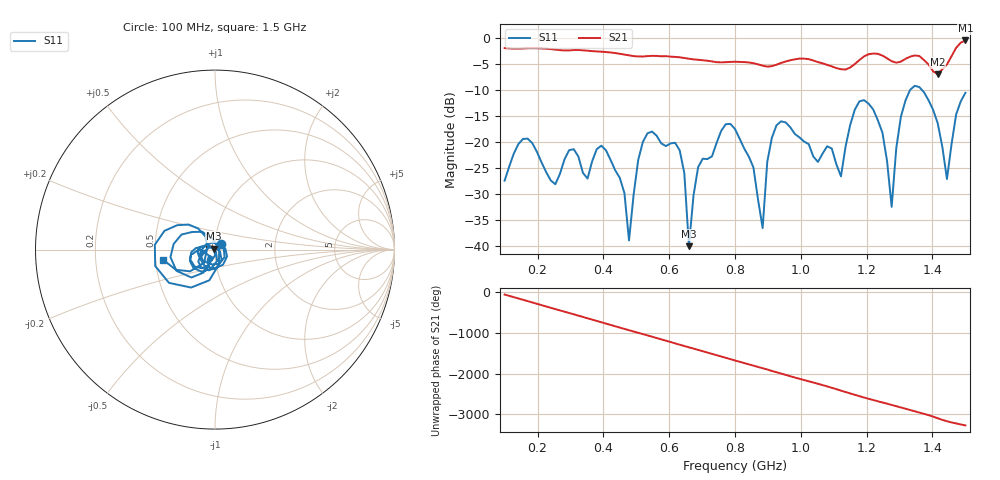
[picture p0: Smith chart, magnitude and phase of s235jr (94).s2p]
! NanoVNA-App
! Date: 2025-09-25 15:04:53
! Start: 100MHz Stop: 1,5GHz Points: 101
! S-Parameter data: F S11 S21 S12 S22
# Hz S RI R 50
!  Frequency  S11_Real  S11_Imag  S21_Real  S21_Imag  S12_Real  S12_Imag  S22_Real  S22_Imag
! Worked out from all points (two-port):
!   101 points, 100 MHz to 1.5 GHz, reference 50 ohm
!   highest |S21| = -0.50 dB at 1.5 GHz (marker M1); lowest = -7.0 dB at 1.416 GHz (marker M2)
!   |S21| within 3 dB of the highest: start of sweep to 490.8 MHz; 1.194 GHz to 1.25 GHz (56.3 MHz wide, 4.61 % of centre) (the widest 2 of 5)
!   lowest |S11| = -40.1 dB at 660 MHz (marker M3), VSWR 1.02, Z = 49.2 + j0.591 ohm
!   |S11| at or under -10 dB: start of sweep to 1.332 GHz; 1.368 GHz to end of sweep
!   S12 and S22 are empty: the file has one direction only
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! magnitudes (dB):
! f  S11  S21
! 100 MHz  -27.5  -2.0
! 156 MHz  -19.5  -2.1
! 338 MHz  -26.0  -2.4
! 408 MHz  -21.6  -2.7
! 478 MHz  -39.0  -3.4
! 520 MHz  -20.0  -3.6
! 576 MHz  -20.3  -3.5
! 632 MHz  -21.7  -3.7
! 660 MHz  -40.1  -4.0
! 688 MHz  -24.9  -4.2
! 800 MHz  -17.5  -4.6
! 884 MHz  -36.6  -5.4
! 926 MHz  -16.8  -5.2
! 1.038 GHz  -22.8  -4.4
! 1.122 GHz  -26.7  -6.0
! 1.192 GHz  -12.0  -3.6
! 1.248 GHz  -18.3  -3.4
! 1.276 GHz  -32.5  -4.5
! 1.332 GHz  -10.0  -3.6
! 1.416 GHz  -16.5  -7.0
! 1.444 GHz  -27.2  -5.1
! 1.5 GHz  -10.6  -0.5
